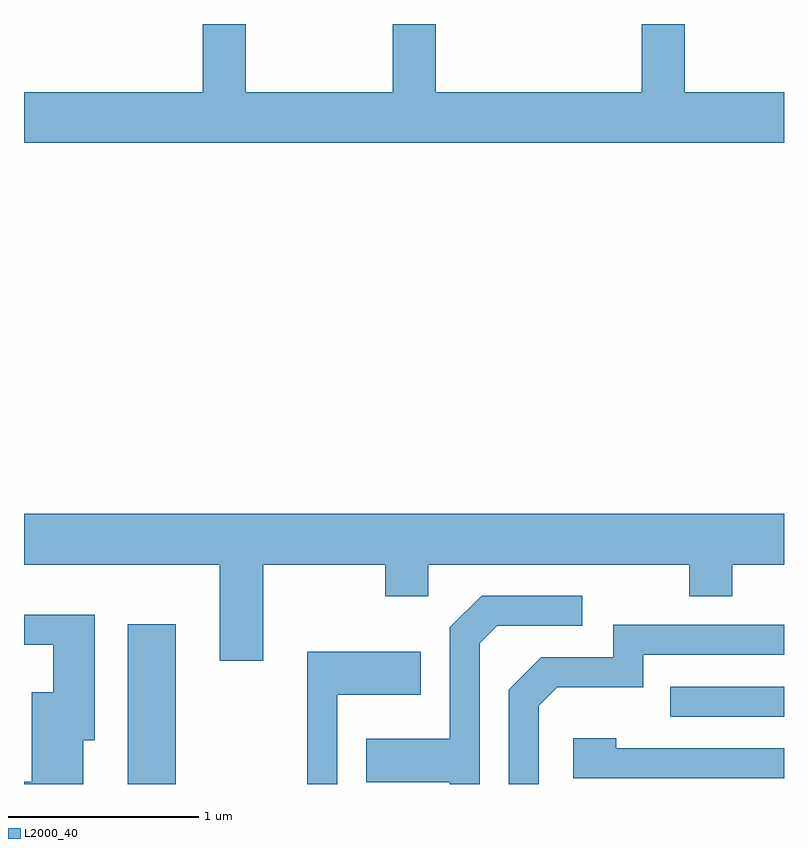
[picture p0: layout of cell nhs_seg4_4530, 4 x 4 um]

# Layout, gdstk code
import gdstk
lib = gdstk.Library(unit=1e-6, precision=1e-09)
def R(c, l, rs):  # rectangles x0, y0, x1, y1
    for r in rs: c.add(gdstk.rectangle(r[:2], r[2:], *l))
def P(c, l, *ps):  # polygons
    for p in ps: c.add(gdstk.Polygon(p, *l))
L2000_40 = (2000, 40)

nhs_seg4_4530 = lib.new_cell('nhs_seg4_4530')
R(nhs_seg4_4530, L2000_40, [(318.156,1337.982,318.409,1338.824), (321.013,1338.336,321.611,1338.494)])
P(nhs_seg4_4530, L2000_40, [(321.611,1341.624),(321.089,1341.624),(321.089,1341.982),(320.861,1341.982),(320.861,1341.624),(319.779,1341.624),(319.779,1341.982),(319.551,1341.982),(319.551,1341.624),(318.779,1341.624),(318.779,1341.982),(318.551,1341.982),(318.551,1341.624),(317.611,1341.624),(317.611,1341.356),(321.611,1341.356)],
  [(318.869,1339.136),(319.511,1339.136),(319.511,1338.971),(319.739,1338.971),(319.739,1339.136),(321.111,1339.136),(321.111,1338.971),(321.339,1338.971),(321.339,1339.136),(321.611,1339.136),(321.611,1339.404),(317.611,1339.404),(317.611,1339.136),(318.641,1339.136),(318.641,1338.631),(318.869,1338.631)],
  [(320.009,1338.724),(320.102,1338.816),(320.548,1338.816),(320.548,1338.974),(320.019,1338.974),(319.851,1338.807),(319.851,1338.219),(319.411,1338.219),(319.411,1337.991),(319.851,1337.991),(319.851,1337.982),(320.009,1337.982)],
  [(317.924,1338.211),(317.984,1338.211),(317.984,1338.874),(317.611,1338.874),(317.611,1338.716),(317.766,1338.716),(317.766,1338.464),(317.651,1338.464),(317.651,1337.994),(317.611,1337.994),(317.611,1337.982),(317.924,1337.982)],
  [(320.319,1338.394),(320.417,1338.491),(320.869,1338.491),(320.869,1338.661),(321.611,1338.661),(321.611,1338.819),(320.711,1338.819),(320.711,1338.649),(320.334,1338.649),(320.161,1338.477),(320.161,1337.982),(320.319,1337.982)],
  [(319.259,1338.451),(319.699,1338.451),(319.699,1338.679),(319.101,1338.679),(319.101,1337.982),(319.259,1337.982)],
  [(321.611,1338.169),(320.729,1338.169),(320.729,1338.224),(320.501,1338.224),(320.501,1338.011),(321.611,1338.011)])

lib.write_gds('nhs_seg4_4530.gds')
